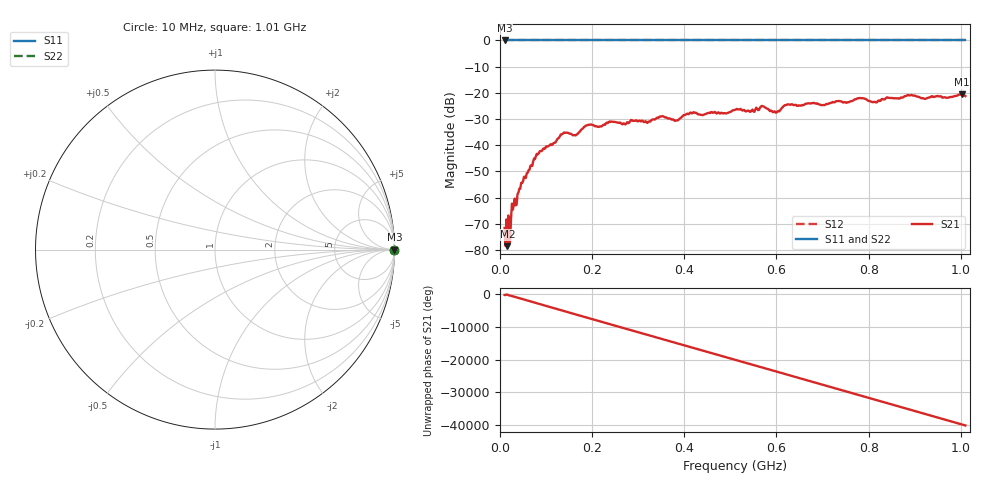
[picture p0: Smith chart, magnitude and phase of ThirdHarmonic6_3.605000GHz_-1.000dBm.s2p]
! 8/17/2025 12:01:50 PM
! C:\ANRITSUVNA\TEMP\TEMP.S2P
! CHANNEL.1
! TR.MEASUREMENT
! RAW.DATA
! RF.CORRECTION.OFF
! AVERAGING.OFF
! IF.BANDWIDTH: 5KHZ
! SWEEPTYPE:  FREQ.SWEEP(Linear)
! Reference Plane Port Info
! PORT:  PORT1  PORT2
! DISTANCE:  0  m  0  m
! TIME:  0  s  0  s
! PHASE.OFFSET:  0  deg.  0  deg.
! LOSS:  0  dB  0  dB
! REF.LOSS:  0  dB  0  dB
! REF.FREQ:  0  Hz  0  Hz
! Power Info
! POWER:  -20  dBm  -20  dBm
! EFF.POWER:  -20  dBm  -20  dBm
! SOURCE.ATTEN:  0  dB  0  dB
! TEST.ATTEN:  0  dB  0  dB
# GHZ S RI R 50.0
! FREQ.GHZ  S11RE  S11IM  S21RE  S21IM  S12RE  S12IM  S22RE  S22IM
!; PortSelection: Port_12
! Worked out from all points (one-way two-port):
!   501 points, 10 MHz to 1.01 GHz, reference 50 ohm
!   highest |S21| = -20.52 dB at 1.002 GHz (marker M1); lowest = -78.6 dB at 16 MHz (marker M2)
!   lowest |S11| = 0.0 dB at 10 MHz (marker M3)
!   |S11| at or under -10 dB: nowhere
!   |S22| runs from 0.0 to 0.0 dB; largest |S21 - S12| = 1.1
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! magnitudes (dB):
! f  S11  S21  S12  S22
! 10 MHz  0.0  -71.6  0.0  0.0
! 16 MHz  0.0  -78.6  0.0  0.0
! 20 MHz  0.0  -77.6  0.0  0.0
! 30 MHz  0.0  -62.7  0.0  0.0
! 50 MHz  0.0  -53.8  0.0  0.0
! 78 MHz  0.0  -44.1  0.0  0.0
! 136 MHz  0.0  -35.7  0.0  0.0
! 164 MHz  0.0  -36.3  0.0  0.0
! 178 MHz  0.0  -33.8  0.0  0.0
! 344 MHz  0.0  -29.5  0.0  0.0
! 382 MHz  0.0  -30.5  0.0  0.0
! 416 MHz  0.0  -27.9  0.0  0.0
! 510 MHz  0.0  -26.5  0.0  0.0
! 570 MHz  0.0  -25.1  0.0  0.0
! 596 MHz  0.0  -27.1  0.0  0.0
! 622 MHz  0.0  -24.6  0.0  0.0
! 678 MHz  0.0  -24.0  0.0  0.0
! 784 MHz  0.0  -22.1  0.0  0.0
! 814 MHz  0.0  -23.5  0.0  0.0
! 844 MHz  0.0  -21.9  0.0  0.0
! 1.002 GHz  0.0  -20.5  0.0  0.0
! 1.01 GHz  0.0  -21.2  0.0  0.0
